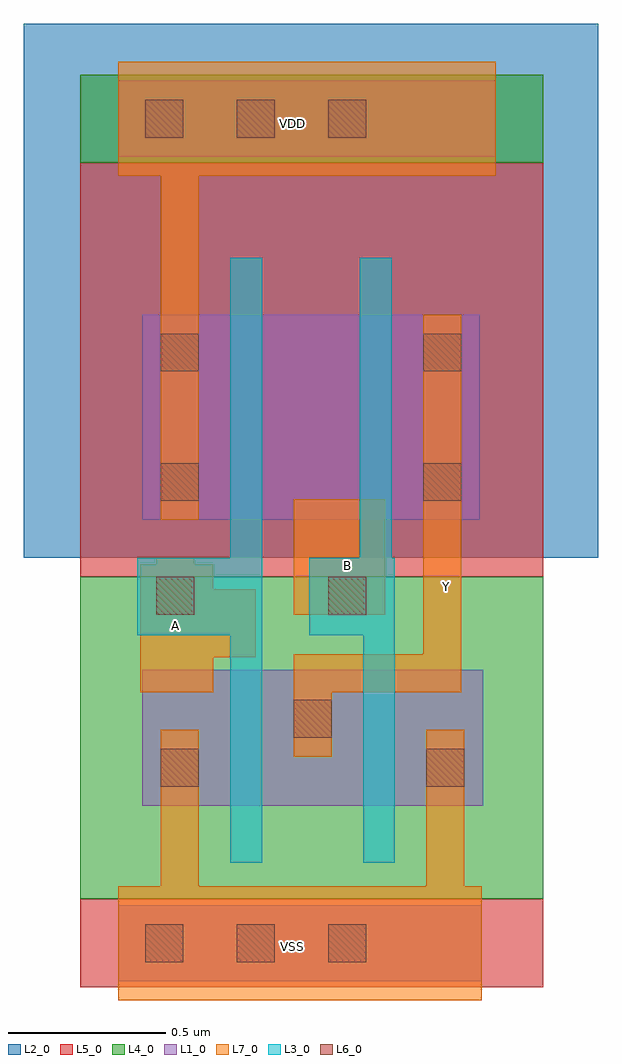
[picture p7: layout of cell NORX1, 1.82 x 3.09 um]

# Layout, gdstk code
import gdstk
lib = gdstk.Library(unit=1e-6, precision=1e-09)
def R(c, l, rs):  # rectangles x0, y0, x1, y1
    for r in rs: c.add(gdstk.rectangle(r[:2], r[2:], *l))
def A(c, l, x, y, w, h, nx, ny, dx, dy):  # array of equal rectangles
    R(c, l, [(x+i*dx, y+j*dy, x+i*dx+w, y+j*dy+h) for i in range(nx) for j in range(ny)])
def P(c, l, *ps):  # polygons
    for p in ps: c.add(gdstk.Polygon(p, *l))
L1_0 = (1, 0)
L2_0 = (2, 0)
L3_0 = (3, 0)
L4_0 = (4, 0)
L5_0 = (5, 0)
L6_0 = (6, 0)
L7_0 = (7, 0)

norx1 = lib.new_cell('NORX1')
R(norx1, L1_0, [(-0.355,-0.325,0.795,-0.085), (-0.28,0.23,0.8,0.66), (-0.28,1.135,0.79,1.785), (-0.355,2.285,0.84,2.525)])
R(norx1, L2_0, [(-0.655,1.015,1.165,2.705)])
R(norx1, L3_0, [(0,0.05,0.1,0.795), (0.42,0.05,0.52,0.795), (-0.295,0.77,0.1,1.015), (0.25,0.77,0.52,1.015), (0,0.995,0.1,1.965), (0.41,0.995,0.51,1.965)])
R(norx1, L4_0, [(-0.475,-0.065,0.99,0.955), (-0.475,2.265,0.99,2.545)])
R(norx1, L5_0, [(-0.475,-0.345,0.99,-0.065), (-0.475,0.955,0.99,2.265)])
A(norx1, L6_0, -0.27, -0.265, 0.12, 0.12, 3, 2, 0.29, 2.61)
R(norx1, L6_0, [(-0.22,0.29,-0.1,0.41), (0.62,0.29,0.74,0.41), (0.2,0.445,0.32,0.565), (-0.235,0.835,-0.115,0.955), (0.31,0.835,0.43,0.955), (-0.22,1.195,-0.1,1.315), (0.61,1.195,0.73,1.315), (-0.22,1.605,-0.1,1.725), (0.61,1.605,0.73,1.725)])
R(norx1, L7_0, [(-0.355,-0.385,0.795,-0.025), (-0.22,-0.025,-0.1,0.47), (0.62,-0.025,0.74,0.47), (-0.285,0.59,-0.055,0.995), (-0.055,0.7,0.08,0.915), (0.2,0.835,0.49,0.955), (0.2,0.955,0.49,1.2), (-0.235,0.995,-0.115,1.015), (-0.22,1.135,-0.1,2.225), (-0.355,2.225,0.84,2.585)])
P(norx1, L7_0, [(0.2,0.385),(0.2,0.71),(0.61,0.71),(0.61,1.785),(0.73,1.785),(0.73,0.59),(0.32,0.59),(0.32,0.385)])
norx1.add(gdstk.Label('Y', (0.685,0.925), layer=7, texttype=251))
norx1.add(gdstk.Label('VSS', (0.195,-0.215), layer=7, texttype=251))
norx1.add(gdstk.Label('B', (0.37,0.99), layer=7, texttype=251))
norx1.add(gdstk.Label('A', (-0.175,0.8), layer=7, texttype=251))
norx1.add(gdstk.Label('VDD', (0.195,2.39), layer=7, texttype=251))

lib.write_gds('NORX1.gds')
